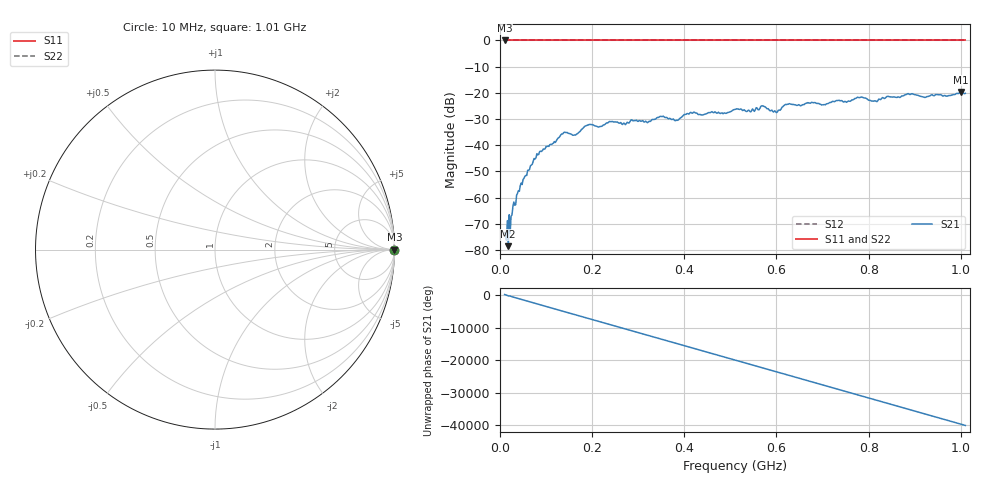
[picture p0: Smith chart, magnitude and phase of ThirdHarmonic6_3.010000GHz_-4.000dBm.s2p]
! 8/17/2025 8:37:50 AM
! C:\ANRITSUVNA\TEMP\TEMP.S2P
! CHANNEL.1
! TR.MEASUREMENT
! RAW.DATA
! RF.CORRECTION.OFF
! AVERAGING.OFF
! IF.BANDWIDTH: 5KHZ
! SWEEPTYPE:  FREQ.SWEEP(Linear)
! Reference Plane Port Info
! PORT:  PORT1  PORT2
! DISTANCE:  0  m  0  m
! TIME:  0  s  0  s
! PHASE.OFFSET:  0  deg.  0  deg.
! LOSS:  0  dB  0  dB
! REF.LOSS:  0  dB  0  dB
! REF.FREQ:  0  Hz  0  Hz
! Power Info
! POWER:  -20  dBm  -20  dBm
! EFF.POWER:  -20  dBm  -20  dBm
! SOURCE.ATTEN:  0  dB  0  dB
! TEST.ATTEN:  0  dB  0  dB
# GHZ S RI R 50.0
! FREQ.GHZ  S11RE  S11IM  S21RE  S21IM  S12RE  S12IM  S22RE  S22IM
!; PortSelection: Port_12
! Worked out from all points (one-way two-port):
!   501 points, 10 MHz to 1.01 GHz, reference 50 ohm
!   highest |S21| = -19.67 dB at 1 GHz (marker M1); lowest = -78.5 dB at 18 MHz (marker M2)
!   lowest |S11| = 0.0 dB at 10 MHz (marker M3)
!   |S11| at or under -10 dB: nowhere
!   |S22| runs from 0.0 to 0.0 dB; largest |S21 - S12| = 1.1
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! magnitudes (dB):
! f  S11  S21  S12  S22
! 10 MHz  0.0  -73.4  0.0  0.0
! 18 MHz  0.0  -78.5  0.0  0.0
! 28 MHz  0.0  -63.5  0.0  0.0
! 40 MHz  0.0  -57.3  0.0  0.0
! 78 MHz  0.0  -44.8  0.0  0.0
! 136 MHz  0.0  -35.7  0.0  0.0
! 162 MHz  0.0  -36.1  0.0  0.0
! 178 MHz  0.0  -33.8  0.0  0.0
! 194 MHz  0.0  -32.1  0.0  0.0
! 344 MHz  0.0  -29.4  0.0  0.0
! 384 MHz  0.0  -30.5  0.0  0.0
! 416 MHz  0.0  -27.7  0.0  0.0
! 510 MHz  0.0  -26.3  0.0  0.0
! 570 MHz  0.0  -25.0  0.0  0.0
! 598 MHz  0.0  -27.1  0.0  0.0
! 624 MHz  0.0  -24.3  0.0  0.0
! 678 MHz  0.0  -23.7  0.0  0.0
! 780 MHz  0.0  -21.8  0.0  0.0
! 814 MHz  0.0  -23.0  0.0  0.0
! 844 MHz  0.0  -21.4  0.0  0.0
! 1 GHz  0.0  -19.7  0.0  0.0
! 1.01 GHz  0.0  -20.2  0.0  0.0
